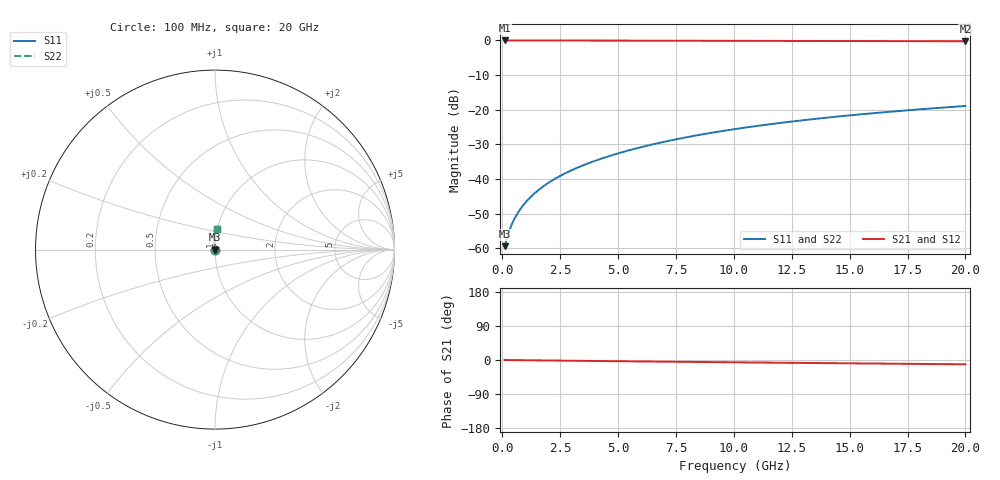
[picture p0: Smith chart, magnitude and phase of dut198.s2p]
! Touchstone file exported from HFSS 2024.1.0
!  File:  C:/UserFiles/LocalFiles/RDL_TSV_Batchsim/temp_RDL_bottom_198_1778699456.aedt
!  Generated:  03:13:17 AM May 14, 2026
!  Design:  RDL_bottom
!  Project:  temp_RDL_bottom_198_1778699456
!  Setup:  Setup1
!  Solution:  Sweep
! Variables:
!  dtsv = 10.80580581um
!  hbump = 3um
!  htsv = 97.8um
!  ldown = 141.67um
!  lrdl = 100um
!  p = 40
!  p1 = 48.65um
!  rhole = 1um
!  t = 450um
!  tdown = 2.83um
!  trdl = 3.915915916um
!  wdown = 28.5um
!  wrdl = 20um
# GHz S MA R 50.000000
! Terminal data exported
! Port[1] = RDL1_T1
! Port[2] = RDL1_T2
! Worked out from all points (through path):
!   200 points, 100 MHz to 20 GHz, reference 50 ohm
!   highest |S21| = -0.01 dB at 100 MHz (marker M1); lowest = -0.2 dB at 20 GHz (marker M2)
!   group delay of S21, straight-line fit = 1.56 ps
!   lowest |S11| = -59.3 dB at 100 MHz (marker M3), VSWR 1.00, Z = 50.1 + j0.0508 ohm
!   |S11| at or under -10 dB: start of sweep to end of sweep
!   |S22| runs from -59.3 to -18.9 dB; largest |S21 - S12| = 3.8e-15
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0.1  0.001078 28.0  0.999 -0.1  0.999 -0.1  0.001078 28.0
! Gamma 0 0 0 0
! Port Impedance 50 0 50 0
0.3  0.001787 54.6  0.9989 -0.2  0.9989 -0.2  0.001787 54.6
0.4  0.002182 60.5  0.9989 -0.3  0.9989 -0.3  0.002182 60.5
0.5  0.002577 64.7  0.9988 -0.3  0.9988 -0.3  0.002577 64.7
0.6  0.002974 68.0  0.9987 -0.4  0.9987 -0.4  0.002974 68.0
0.8  0.003775 72.8  0.9986 -0.5  0.9986 -0.5  0.003775 72.8
1  0.00459 76.2  0.9985 -0.7  0.9985 -0.7  0.00459 76.2
1.2  0.00542 78.8  0.9984 -0.8  0.9984 -0.8  0.00542 78.8
1.7  0.007554 83.3  0.9981 -1.1  0.9981 -1.1  0.007554 83.3
2.2  0.009764 86.1  0.9977 -1.5  0.9977 -1.5  0.009764 86.1
2.8  0.01251 88.5  0.997 -1.9  0.997 -1.9  0.01251 88.5
3.5  0.01586 90.4  0.9962 -2.3  0.9962 -2.3  0.01586 90.4
4.2  0.01935 91.7  0.9952 -2.7  0.9952 -2.7  0.01935 91.7
5  0.02351 92.7  0.994 -3.2  0.994 -3.2  0.02351 92.7
5.9  0.02838 93.3  0.9925 -3.8  0.9925 -3.8  0.02838 93.3
6.8  0.03344 93.6  0.9911 -4.3  0.9911 -4.3  0.03344 93.6
8.4  0.04277 93.3  0.9884 -5.2  0.9884 -5.2  0.04277 93.3
10.1  0.05298 92.6  0.9857 -6.2  0.9857 -6.2  0.05299 92.6
11.7  0.06275 91.6  0.9834 -7.0  0.9834 -7.0  0.06275 91.6
13.4  0.07319 90.3  0.981 -7.9  0.981 -7.9  0.07319 90.4
16.7  0.09341 87.9  0.9767 -9.7  0.9767 -9.7  0.09342 87.9
20  0.1134 85.4  0.9727 -11.4  0.9727 -11.4  0.1134 85.4
